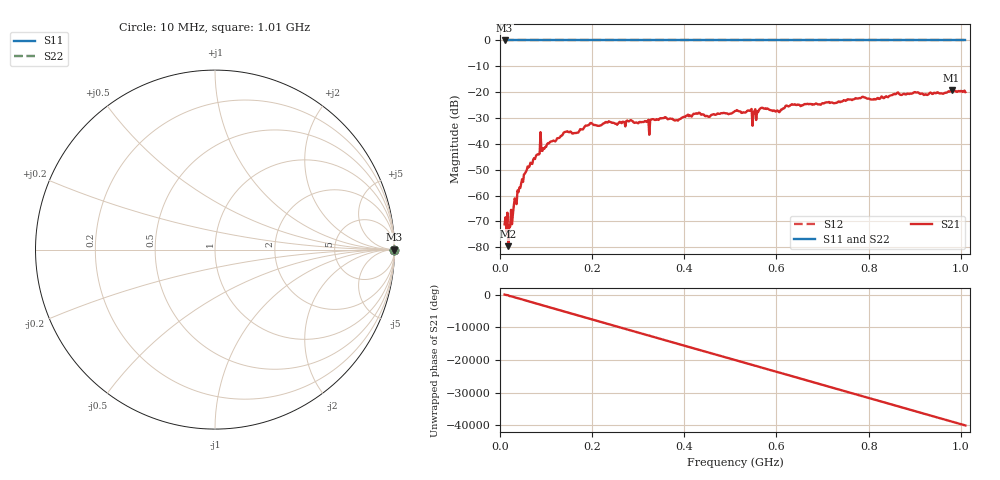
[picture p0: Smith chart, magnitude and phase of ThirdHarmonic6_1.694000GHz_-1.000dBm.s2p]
! 8/16/2025 8:21:13 PM
! C:\ANRITSUVNA\TEMP\TEMP.S2P
! CHANNEL.1
! TR.MEASUREMENT
! RAW.DATA
! RF.CORRECTION.OFF
! AVERAGING.OFF
! IF.BANDWIDTH: 5KHZ
! SWEEPTYPE:  FREQ.SWEEP(Linear)
! Reference Plane Port Info
! PORT:  PORT1  PORT2
! DISTANCE:  0  m  0  m
! TIME:  0  s  0  s
! PHASE.OFFSET:  0  deg.  0  deg.
! LOSS:  0  dB  0  dB
! REF.LOSS:  0  dB  0  dB
! REF.FREQ:  0  Hz  0  Hz
! Power Info
! POWER:  -20  dBm  -20  dBm
! EFF.POWER:  -20  dBm  -20  dBm
! SOURCE.ATTEN:  0  dB  0  dB
! TEST.ATTEN:  0  dB  0  dB
# GHZ S RI R 50.0
! FREQ.GHZ  S11RE  S11IM  S21RE  S21IM  S12RE  S12IM  S22RE  S22IM
!; PortSelection: Port_12
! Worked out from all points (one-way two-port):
!   501 points, 10 MHz to 1.01 GHz, reference 50 ohm
!   highest |S21| = -19.34 dB at 980 MHz (marker M1); lowest = -79.5 dB at 18 MHz (marker M2)
!   lowest |S11| = 0.0 dB at 10 MHz (marker M3)
!   |S11| at or under -10 dB: nowhere
!   |S22| runs from 0.0 to 0.0 dB; largest |S21 - S12| = 1.1
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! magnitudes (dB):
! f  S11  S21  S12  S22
! 10 MHz  0.0  -71.1  0.0  0.0
! 12 MHz  0.0  -68.4  0.0  0.0
! 18 MHz  0.0  -79.5  0.0  0.0
! 22 MHz  0.0  -72.0  0.0  0.0
! 34 MHz  0.0  -62.6  0.0  0.0
! 56 MHz  0.0  -50.8  0.0  0.0
! 84 MHz  0.0  -44.1  0.0  0.0
! 142 MHz  0.0  -35.3  0.0  0.0
! 178 MHz  0.0  -34.4  0.0  0.0
! 198 MHz  0.0  -31.9  0.0  0.0
! 320 MHz  0.0  -31.3  0.0  0.0
! 344 MHz  0.0  -30.7  0.0  0.0
! 510 MHz  0.0  -27.3  0.0  0.0
! 542 MHz  0.0  -27.2  0.0  0.0
! 552 MHz  0.0  -27.5  0.0  0.0
! 568 MHz  0.0  -26.0  0.0  0.0
! 602 MHz  0.0  -27.1  0.0  0.0
! 636 MHz  0.0  -24.9  0.0  0.0
! 678 MHz  0.0  -24.9  0.0  0.0
! 844 MHz  0.0  -21.6  0.0  0.0
! 980 MHz  0.0  -19.3  0.0  0.0
! 1.01 GHz  0.0  -20.0  0.0  0.0
